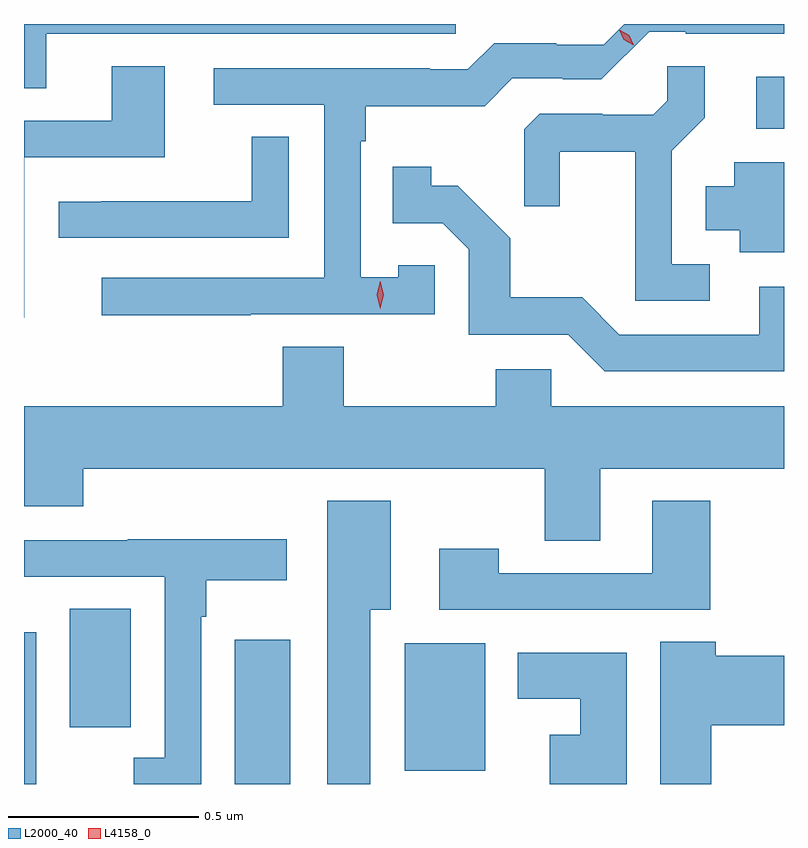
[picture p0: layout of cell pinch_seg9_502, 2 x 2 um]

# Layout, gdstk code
import gdstk
lib = gdstk.Library(unit=1e-6, precision=1e-09)
def R(c, l, rs):  # rectangles x0, y0, x1, y1
    for r in rs: c.add(gdstk.rectangle(r[:2], r[2:], *l))
def P(c, l, *ps):  # polygons
    for p in ps: c.add(gdstk.Polygon(p, *l))
L2000_40 = (2000, 40)
L4158_0 = (4158, 0)

pinch_seg9_502 = lib.new_cell('pinch_seg9_502')
R(pinch_seg9_502, L2000_40, [(382.79,1202.25,382.822,1202.65), (383.345,1202.25,383.491,1202.629), (383.792,1202.285,384.004,1202.62), (382.91,1202.4,383.071,1202.711), (384.717,1203.975,384.79,1204.111)])
P(pinch_seg9_502, L2000_40, [(383.387,1203.486),(383.871,1203.486),(383.871,1203.615),(383.775,1203.615),(383.775,1203.583),(383.676,1203.583),(383.676,1203.941),(383.689,1203.941),(383.689,1204.034),(384.002,1204.034),(384.075,1204.107),(384.208,1204.107),(384.208,1204.104),(384.309,1204.104),(384.435,1204.23),(384.532,1204.23),(384.532,1204.224),(384.79,1204.224),(384.79,1204.25),(384.37,1204.25),(384.316,1204.196),(384.191,1204.196),(384.191,1204.2),(384.027,1204.2),(383.958,1204.131),(383.858,1204.131),(383.858,1204.134),(383.289,1204.134),(383.289,1204.038),(383.58,1204.038),(383.58,1203.582),(382.995,1203.582),(382.995,1203.484),(383.387,1203.484)],
  [(382.849,1204.224),(383.926,1204.224),(383.926,1204.25),(382.79,1204.25),(382.79,1204.081),(382.849,1204.081)],
  [(382.791,1203.9),(383.161,1203.9),(383.161,1204.139),(383.021,1204.139),(383.021,1203.996),(382.79,1203.996),(382.79,1203.477),(382.791,1203.477)],
  [(384.595,1203.618),(384.495,1203.618),(384.495,1203.917),(384.581,1204.003),(384.581,1204.139),(384.483,1204.139),(384.483,1204.048),(384.446,1204.011),(384.312,1204.011),(384.312,1204.014),(384.147,1204.014),(384.106,1203.973),(384.106,1203.771),(384.2,1203.771),(384.2,1203.914),(384.398,1203.914),(384.398,1203.522),(384.595,1203.522)],
  [(383.487,1203.953),(383.389,1203.953),(383.389,1203.783),(382.993,1203.783),(382.993,1203.782),(382.881,1203.782),(382.881,1203.687),(383.487,1203.687)],
  [(384.79,1203.886),(384.659,1203.886),(384.659,1203.823),(384.584,1203.823),(384.584,1203.707),(384.674,1203.707),(384.674,1203.65),(384.79,1203.65)],
  [(384.79,1203.558),(384.725,1203.558),(384.725,1203.432),(384.357,1203.432),(384.259,1203.531),(384.07,1203.531),(384.07,1203.686),(383.932,1203.824),(383.862,1203.824),(383.862,1203.874),(383.761,1203.874),(383.761,1203.726),(383.892,1203.726),(383.961,1203.657),(383.961,1203.432),(384.222,1203.432),(384.318,1203.336),(384.79,1203.336)],
  [(384.307,1203.08),(384.79,1203.08),(384.79,1203.244),(384.177,1203.244),(384.177,1203.342),(384.031,1203.342),(384.031,1203.244),(383.631,1203.244),(383.631,1203.401),(383.471,1203.401),(383.471,1203.244),(382.79,1203.244),(382.79,1202.981),(382.946,1202.981),(382.946,1203.08),(384.16,1203.08),(384.16,1202.89),(384.307,1202.89)],
  [(383.701,1202.708),(383.755,1202.708),(383.755,1202.995),(383.588,1202.995),(383.588,1202.25),(383.701,1202.25)],
  [(384.596,1202.995),(384.443,1202.995),(384.443,1202.805),(384.039,1202.805),(384.039,1202.869),(383.883,1202.869),(383.883,1202.709),(384.596,1202.709)],
  [(383.256,1202.69),(383.269,1202.69),(383.269,1202.786),(383.482,1202.786),(383.482,1202.894),(383.063,1202.894),(383.063,1202.892),(382.79,1202.892),(382.79,1202.795),(382.814,1202.795),(382.814,1202.796),(383.16,1202.796),(383.16,1202.319),(383.079,1202.319),(383.079,1202.25),(383.256,1202.25)],
  [(384.598,1202.405),(384.79,1202.405),(384.79,1202.588),(384.611,1202.588),(384.611,1202.624),(384.464,1202.624),(384.464,1202.25),(384.598,1202.25)],
  [(384.376,1202.596),(384.089,1202.596),(384.089,1202.474),(384.254,1202.474),(384.254,1202.38),(384.173,1202.38),(384.173,1202.25),(384.376,1202.25)])
P(pinch_seg9_502, L4158_0, [(383.727,1203.501),(383.718,1203.537),(383.727,1203.573),(383.728,1203.573),(383.728,1203.573),(383.737,1203.537),(383.728,1203.501),(383.728,1203.501)],
  [(384.394,1204.194),(384.368,1204.208),(384.356,1204.235),(384.356,1204.235),(384.357,1204.235),(384.383,1204.221),(384.395,1204.194),(384.395,1204.194)])

lib.write_gds('pinch_seg9_502.gds')
